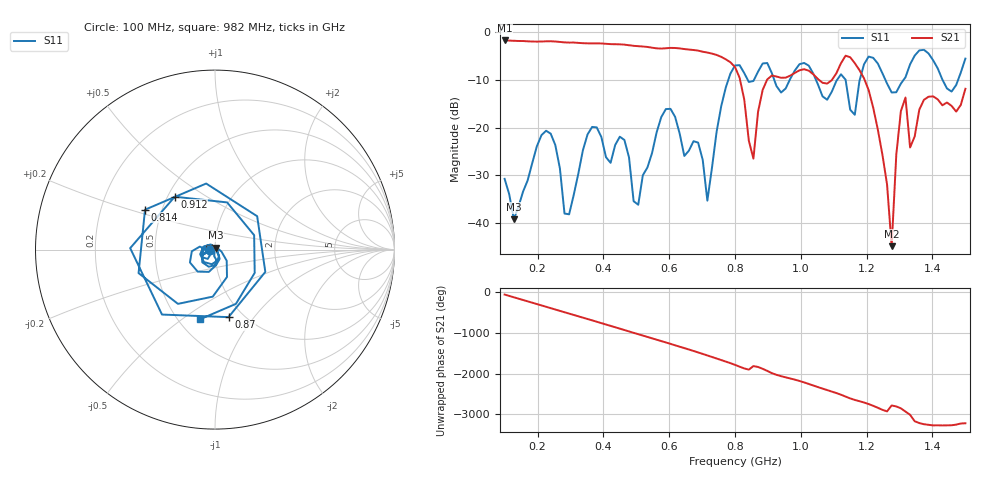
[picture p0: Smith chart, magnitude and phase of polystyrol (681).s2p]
! NanoVNA-App
! Date: 2025-09-25 15:35:11
! Start: 100MHz Stop: 1,5GHz Points: 101
! S-Parameter data: F S11 S21 S12 S22
# Hz S RI R 50
!  Frequency  S11_Real  S11_Imag  S21_Real  S21_Imag  S12_Real  S12_Imag  S22_Real  S22_Imag
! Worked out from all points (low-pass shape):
!   101 points, 100 MHz to 1.5 GHz, reference 50 ohm
!   highest |S21| = -1.80 dB at 100 MHz (marker M1); lowest = -44.8 dB at 1.276 GHz (marker M2)
!   |S21| within 3 dB of the highest: start of sweep to 742.8 MHz
!   lowest |S11| = -39.1 dB at 128 MHz (marker M3), VSWR 1.02, Z = 50.3 + j1.05 ohm
!   |S11| at or under -10 dB: start of sweep to 779.9 MHz; 1.046 GHz to 1.111 GHz (64.76 MHz wide, 6.01 % of centre); 1.257 GHz to 1.313 GHz (55.83 MHz wide, 4.35 % of centre) (the widest 3 of 7)
!   S12 and S22 are empty: the file has one direction only
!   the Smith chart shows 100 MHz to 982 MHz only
!   S11 on the Smith chart (normalised r, x): 100 MHz: 0.94, -0.01; 814 MHz: 0.40, +0.22; 870 MHz: 0.86, -0.76; 912 MHz: 0.54, +0.37; 982 MHz: 0.64, -0.59
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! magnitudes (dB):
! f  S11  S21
! 100 MHz  -30.7  -1.8
! 128 MHz  -39.1  -1.9
! 212 MHz  -21.6  -2.0
! 282 MHz  -38.0  -2.2
! 338 MHz  -24.7  -2.4
! 464 MHz  -22.6  -2.7
! 506 MHz  -36.1  -3.0
! 576 MHz  -17.8  -3.5
! 716 MHz  -35.3  -4.3
! 800 MHz  -7.0  -7.4
! 814 MHz  -7.0  -9.6
! 856 MHz  -10.3  -26.5
! 870 MHz  -8.3  -16.7
! 912 MHz  -8.6  -9.1
! 982 MHz  -8.1  -8.6
! 1.038 GHz  -8.7  -8.9
! 1.164 GHz  -17.3  -6.5
! 1.192 GHz  -6.8  -9.7
! 1.276 GHz  -12.7  -44.8
! 1.318 GHz  -9.5  -13.7
! 1.332 GHz  -6.8  -24.2
! 1.5 GHz  -5.6  -11.9
